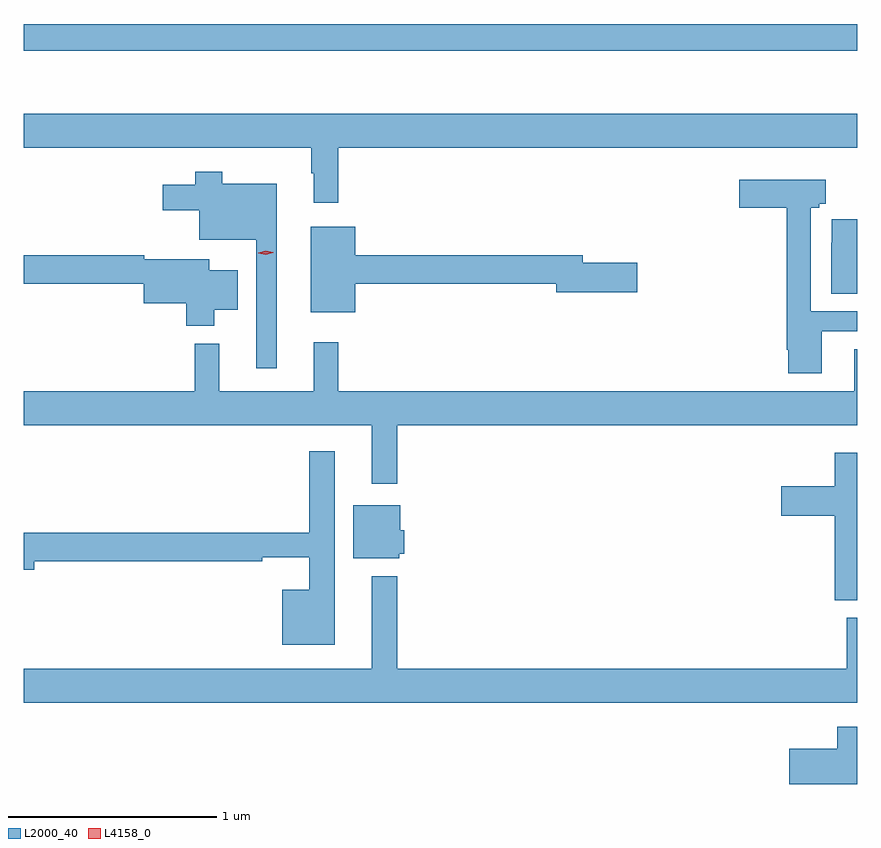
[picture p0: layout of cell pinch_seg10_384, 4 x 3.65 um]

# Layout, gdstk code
import gdstk
lib = gdstk.Library(unit=1e-6, precision=1e-09)
def R(c, l, rs):  # rectangles x0, y0, x1, y1
    for r in rs: c.add(gdstk.rectangle(r[:2], r[2:], *l))
def P(c, l, *ps):  # polygons
    for p in ps: c.add(gdstk.Polygon(p, *l))
L2000_40 = (2000, 40)
L4158_0 = (4158, 0)

pinch_seg10_384 = lib.new_cell('pinch_seg10_384')
R(pinch_seg10_384, L2000_40, [(601.017,1255.494,605.017,1255.622)])
P(pinch_seg10_384, L2000_40, [(602.525,1255.028),(605.017,1255.028),(605.017,1255.192),(601.017,1255.192),(601.017,1255.028),(602.397,1255.028),(602.397,1254.905),(602.408,1254.905),(602.408,1254.765),(602.525,1254.765)],
  [(602.23,1254.856),(601.969,1254.856),(601.969,1254.913),(601.84,1254.913),(601.84,1254.85),(601.683,1254.85),(601.683,1254.728),(601.859,1254.728),(601.859,1254.587),(602.133,1254.587),(602.133,1253.97),(602.23,1253.97)],
  [(604.846,1254.147),(605.017,1254.147),(605.017,1254.243),(604.794,1254.243),(604.794,1254.74),(604.836,1254.74),(604.836,1254.76),(604.865,1254.76),(604.865,1254.874),(604.452,1254.874),(604.452,1254.74),(604.678,1254.74),(604.678,1254.058),(604.685,1254.058),(604.685,1253.946),(604.846,1253.946)],
  [(605.017,1254.685),(604.895,1254.685),(604.895,1254.572),(604.892,1254.572),(604.892,1254.328),(605.017,1254.328)],
  [(602.608,1254.376),(603.572,1254.376),(603.572,1254.334),(603.961,1254.334),(603.961,1254.476),(603.7,1254.476),(603.7,1254.512),(602.608,1254.512),(602.608,1254.649),(602.393,1254.649),(602.393,1254.239),(602.608,1254.239)],
  [(601.93,1254.251),(602.044,1254.251),(602.044,1254.439),(601.906,1254.439),(601.906,1254.493),(601.596,1254.493),(601.596,1254.512),(601.017,1254.512),(601.017,1254.376),(601.592,1254.376),(601.592,1254.281),(601.796,1254.281),(601.796,1254.173),(601.93,1254.173)],
  [(602.809,1253.696),(605.017,1253.696),(605.017,1254.062),(605.003,1254.062),(605.003,1253.86),(602.525,1253.86),(602.525,1254.094),(602.408,1254.094),(602.408,1253.86),(601.955,1253.86),(601.955,1254.088),(601.837,1254.088),(601.837,1253.86),(601.017,1253.86),(601.017,1253.696),(602.687,1253.696),(602.687,1253.415),(602.809,1253.415)],
  [(602.509,1253.572),(602.388,1253.572),(602.388,1253.18),(601.017,1253.18),(601.017,1253.002),(601.066,1253.002),(601.066,1253.044),(602.162,1253.044),(602.162,1253.063),(602.388,1253.063),(602.388,1252.906),(602.258,1252.906),(602.258,1252.643),(602.509,1252.643)],
  [(605.017,1253.563),(604.91,1253.563),(604.91,1253.403),(604.653,1253.403),(604.653,1253.261),(604.91,1253.261),(604.91,1252.856),(605.017,1252.856)],
  [(602.82,1253.079),(602.842,1253.079),(602.842,1253.193),(602.824,1253.193),(602.824,1253.311),(602.597,1253.311),(602.597,1253.057),(602.82,1253.057)],
  [(605.017,1252.771),(604.967,1252.771),(604.967,1252.528),(602.809,1252.528),(602.809,1252.972),(602.687,1252.972),(602.687,1252.528),(601.017,1252.528),(601.017,1252.364),(605.017,1252.364)],
  [(605.017,1252.249),(604.922,1252.249),(604.922,1252.144),(604.692,1252.144),(604.692,1251.974),(605.017,1251.974)])
P(pinch_seg10_384, L4158_0, [(602.179,1254.514),(602.143,1254.522),(602.143,1254.523),(602.143,1254.523),(602.179,1254.534),(602.215,1254.526),(602.215,1254.526),(602.215,1254.525)])

lib.write_gds('pinch_seg10_384.gds')
